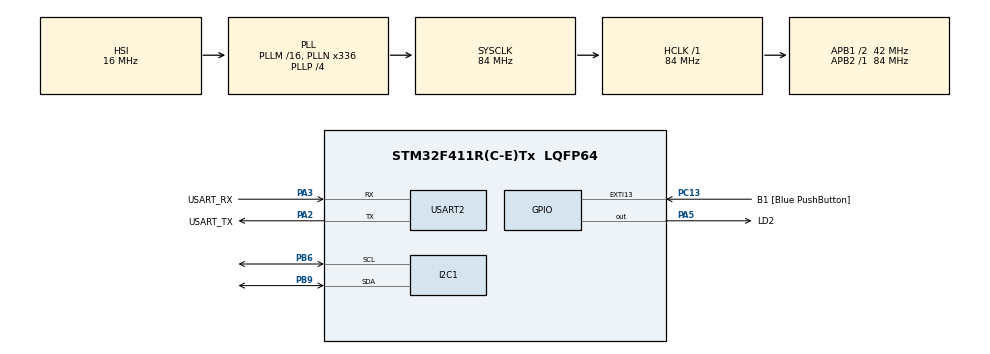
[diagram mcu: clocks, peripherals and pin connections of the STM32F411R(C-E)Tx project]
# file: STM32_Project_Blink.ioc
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ADC1.Channel-1\#ChannelRegularConversion=ADC_CHANNEL_TEMPSENSOR
ADC1.NbrOfConversion=1
ADC1.NbrOfConversionFlag=1
ADC1.Rank-1\#ChannelRegularConversion=1
ADC1.SamplingTime-1\#ChannelRegularConversion=ADC_SAMPLETIME_480CYCLES
ADC1.master=1
Dma.ADC1.1.Direction=DMA_PERIPH_TO_MEMORY
Dma.ADC1.1.FIFOMode=DMA_FIFOMODE_DISABLE
Dma.ADC1.1.Instance=DMA2_Stream0
Dma.ADC1.1.MemDataAlignment=DMA_MDATAALIGN_WORD
Dma.ADC1.1.MemInc=DMA_MINC_ENABLE
Dma.ADC1.1.Mode=DMA_CIRCULAR
Dma.ADC1.1.PeriphDataAlignment=DMA_PDATAALIGN_WORD
Dma.ADC1.1.PeriphInc=DMA_PINC_DISABLE
Dma.ADC1.1.Priority=DMA_PRIORITY_LOW
Dma.Request0=USART2_TX
Dma.Request1=ADC1
Dma.USART2_TX.0.Direction=DMA_MEMORY_TO_PERIPH
Dma.USART2_TX.0.FIFOMode=DMA_FIFOMODE_DISABLE
Dma.USART2_TX.0.Instance=DMA1_Stream6
Dma.USART2_TX.0.MemDataAlignment=DMA_MDATAALIGN_BYTE
Dma.USART2_TX.0.MemInc=DMA_MINC_ENABLE
Dma.USART2_TX.0.Mode=DMA_NORMAL
Dma.USART2_TX.0.PeriphDataAlignment=DMA_PDATAALIGN_BYTE
Dma.USART2_TX.0.PeriphInc=DMA_PINC_DISABLE
Dma.USART2_TX.0.Priority=DMA_PRIORITY_LOW
FREERTOS.BinarySemaphores01=myBinarySem01,Dynamic,NULL,Available
FREERTOS.Queues01=myQueue01,16,uint8_t,0,Dynamic,NULL,NULL
FREERTOS.Tasks01=defaultTask,24,128,StartDefaultTask,Default,NULL,Dynamic,NULL,NULL;myTask02,8,512,StartUartTask,Default,NULL,Dynamic,NULL,NULL
IWDG.Prescaler=IWDG_PRESCALER_32
IWDG.Reload=3000
Mcu.Family=STM32F4
Mcu.Name=STM32F411R(C-E)Tx
Mcu.Package=LQFP64
NVIC.DMA1_Stream6_IRQn=true\:5\:0\:false\:false\:true\:true\:false\:true\:true
NVIC.DMA2_Stream0_IRQn=true\:5\:0\:false\:false\:true\:true\:false\:true\:true
NVIC.EXTI15_10_IRQn=true\:5\:0\:false\:false\:true\:true\:true\:true\:true
NVIC.PriorityGroup=NVIC_PRIORITYGROUP_4
NVIC.USART2_IRQn=true\:5\:0\:false\:false\:true\:true\:true\:true\:true
PA13.GPIO_Label=TMS
PA13.Mode=Serial_Wire
PA13.Signal=SYS_JTMS-SWDIO
PA14.GPIO_Label=TCK
PA14.Mode=Serial_Wire
PA14.Signal=SYS_JTCK-SWCLK
PA2.GPIO_Label=USART_TX
PA2.Mode=Asynchronous
PA2.Signal=USART2_TX
PA3.GPIO_Label=USART_RX
PA3.Mode=Asynchronous
PA3.Signal=USART2_RX
PA5.GPIO_Label=LD2
PA5.Signal=GPIO_Output
PB3.GPIO_Label=SWO
PB3.Signal=SYS_JTDO-SWO
PB6.GPIO_Pu=GPIO_PULLUP
PB6.Mode=I2C
PB6.Signal=I2C1_SCL
PB9.GPIO_Pu=GPIO_PULLUP
PB9.Mode=I2C
PB9.Signal=I2C1_SDA
PC13-ANTI_TAMP.GPIO_Label=B1 [Blue PushButton]
PC13-ANTI_TAMP.GPIO_ModeDefaultEXTI=GPIO_MODE_IT_FALLING
PC13-ANTI_TAMP.Signal=GPXTI13
PC14-OSC32_IN.Mode=LSE-External-Oscillator
PC14-OSC32_IN.Signal=RCC_OSC32_IN
PC15-OSC32_OUT.Mode=LSE-External-Oscillator
PC15-OSC32_OUT.Signal=RCC_OSC32_OUT
PH0\ -\ OSC_IN.Mode=HSE-External-Clock-Source
PH0\ -\ OSC_IN.Signal=RCC_OSC_IN
PH1\ -\ OSC_OUT.Mode=HSE-External-Clock-Source
PH1\ -\ OSC_OUT.Signal=RCC_OSC_OUT
ProjectManager.HeapSize=0x200
ProjectManager.StackSize=0x400
ProjectManager.TargetToolchain=STM32CubeIDE
RCC.48MHZClocksFreq_Value=84000000
RCC.AHBFreq_Value=84000000
RCC.APB1CLKDivider=RCC_HCLK_DIV2
RCC.APB1Freq_Value=42000000
RCC.APB1TimFreq_Value=84000000
RCC.APB2Freq_Value=84000000
RCC.APB2TimFreq_Value=84000000
RCC.CortexFreq_Value=84000000
RCC.FLatency-AdvancedSettings=FLASH_LATENCY_2
RCC.HCLKFreq_Value=84000000
RCC.HSE_VALUE=8000000
RCC.HSI_VALUE=16000000
RCC.PLLN=336
RCC.PLLP=RCC_PLLP_DIV4
RCC.SYSCLKFreq_VALUE=84000000
RCC.SYSCLKSource=RCC_SYSCLKSOURCE_PLLCLK
RCC.VCOOutputFreq_Value=336000000
RTC.Date=29
RTC.Format=RTC_FORMAT_BIN
RTC.Hours=18
RTC.WeekDay=RTC_WEEKDAY_THURSDAY
RTC.Year=26
TIM2.Period=1000-1
TIM2.Prescaler=84-1
USART2.VirtualMode=VM_ASYNC
VP_ADC1_TempSens_Input.Mode=IN-TempSens
VP_FREERTOS_VS_CMSIS_V2.Mode=CMSIS_V2
VP_IWDG_VS_IWDG.Mode=IWDG_Activate
VP_RTC_VS_RTC_Activate.Mode=RTC_Enabled
VP_RTC_VS_RTC_Calendar.Mode=RTC_Calendar
VP_TIM2_VS_ClockSourceINT.Mode=Internal
board=NUCLEO-F411RE

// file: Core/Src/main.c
/* USER CODE BEGIN Header */
/**
  ******************************************************************************
  * @file           : main.c
  * @brief          : Main program body
  ******************************************************************************
  * @attention
  *
  * Copyright (c) 2026 STMicroelectronics.
  * All rights reserved.
  *
  * This software is licensed under terms that can be found in the LICENSE file
  * in the root directory of this software component.
  * If no LICENSE file comes with this software, it is provided AS-IS.
  *
  ******************************************************************************
  */
/* USER CODE END Header */
#include "main.h"
#include "cmsis_os.h"

/* USER CODE BEGIN Includes */
#include "queue.h"
#include "FreeRTOS.h"
#include "my_flash.h"
#include "my_sensor.h"
#include "my_shell.h"
#include "my_rtc.h"
#include "bsp_sensor.h"
#include "my_logger.h"

extern const SensorDriver_t RealSensorDriver;
extern const SensorDriver_t MockSensorDriver;
const SensorDriver_t *pSensor = &RealSensorDriver;

/* USER CODE END Includes */

ADC_HandleTypeDef hadc1;
DMA_HandleTypeDef hdma_adc1;

I2C_HandleTypeDef hi2c1;

IWDG_HandleTypeDef hiwdg;

RTC_HandleTypeDef hrtc;

TIM_HandleTypeDef htim2;

UART_HandleTypeDef huart2;
DMA_HandleTypeDef hdma_usart2_tx;

/* Definitions for defaultTask */
osThreadId_t defaultTaskHandle;
const osThreadAttr_t defaultTask_attributes = {
  .name = "defaultTask",
  .stack_size = 128 * 4,
  .priority = (osPriority_t) osPriorityNormal,
};
/* Definitions for myTask02 */
osThreadId_t myTask02Handle;
const osThreadAttr_t myTask02_attributes = {
  .name = "myTask02",
  .stack_size = 512 * 4,
  .priority = (osPriority_t) osPriorityLow,
};
/* Definitions for myQueue01 */
osMessageQueueId_t myQueue01Handle;
const osMessageQueueAttr_t myQueue01_attributes = {
  .name = "myQueue01"
};
/* Definitions for myBinarySem01 */
osSemaphoreId_t myBinarySem01Handle;
const osSemaphoreAttr_t myBinarySem01_attributes = {
  .name = "myBinarySem01"
};

void SystemClock_Config(void);
static void MX_GPIO_Init(void);
static void MX_DMA_Init(void);
static void MX_USART2_UART_Init(void);
static void MX_ADC1_Init(void);
static void MX_TIM2_Init(void);
static void MX_IWDG_Init(void);
static void MX_RTC_Init(void);
static void MX_I2C1_Init(void);
void StartDefaultTask(void *argument);
void StartUartTask(void *argument);

int main(void)
{

  /* MCU Configuration--------------------------------------------------------*/

  /* Reset of all peripherals, Initializes the Flash interface and the Systick. */
  HAL_Init();

  /* Configure the system clock */
  SystemClock_Config();

  /* Initialize all configured peripherals */
  MX_GPIO_Init();
  MX_DMA_Init();
  MX_USART2_UART_Init();
  MX_ADC1_Init();
  MX_TIM2_Init();
  //MX_IWDG_Init();
  MX_RTC_Init();
  MX_I2C1_Init();
  /* USER CODE BEGIN 2 */
  //Watch Dog and the reason of restarting
  char msg[60];
  if(__HAL_RCC_GET_FLAG(RCC_FLAG_IWDGRST)){
	  snprintf(msg, sizeof(msg), "System Resetted by Watchdog! (IWDG)\r\n");
	  __HAL_RCC_CLEAR_RESET_FLAGS();
  }
  else{
	  snprintf(msg, sizeof(msg), "System Normal Power-on.\r\n");
  }
  HAL_UART_Transmit(&huart2, (uint8_t*)msg, strlen(msg), 100);

  uint8_t rx_data = 0;
  HAL_UART_Receive_IT(&huart2, rx_data, 1);
  Shell_Init(&huart2);
  Flash_Init_Cursor();
  /* USER CODE END 2 */

  /* Init scheduler */
  osKernelInitialize();

  /* Create the semaphores(s) */
  /* creation of myBinarySem01 */
  myBinarySem01Handle = osSemaphoreNew(1, 1, &myBinarySem01_attributes);

  /* Create the queue(s) */
  /* creation of myQueue01 */
  myQueue01Handle = osMessageQueueNew (16, sizeof(uint8_t), &myQueue01_attributes);

  /* Create the thread(s) */
  /* creation of defaultTask */
  defaultTaskHandle = osThreadNew(StartDefaultTask, NULL, &defaultTask_attributes);

  /* creation of myTask02 */
  myTask02Handle = osThreadNew(StartUartTask, NULL, &myTask02_attributes);

  /* Start scheduler */
  osKernelStart();

  /* We should never get here as control is now taken by the scheduler */

  /* Infinite loop */
  while (1)
  {

    /* USER CODE BEGIN 3 */
	  HAL_Delay(500);
  }
  /* USER CODE END 3 */
}

void SystemClock_Config(void)
{
  RCC_OscInitTypeDef RCC_OscInitStruct = {0};
  RCC_ClkInitTypeDef RCC_ClkInitStruct = {0};

  /** Configure the main internal regulator output voltage
  */
  __HAL_RCC_PWR_CLK_ENABLE();
  __HAL_PWR_VOLTAGESCALING_CONFIG(PWR_REGULATOR_VOLTAGE_SCALE1);

  /** Initializes the RCC Oscillators according to the specified parameters
  * in the RCC_OscInitTypeDef structure.
  */
  RCC_OscInitStruct.OscillatorType = RCC_OSCILLATORTYPE_HSI|RCC_OSCILLATORTYPE_LSI;
  RCC_OscInitStruct.HSIState = RCC_HSI_ON;
  RCC_OscInitStruct.HSICalibrationValue = RCC_HSICALIBRATION_DEFAULT;
  RCC_OscInitStruct.LSIState = RCC_LSI_ON;
  RCC_OscInitStruct.PLL.PLLState = RCC_PLL_ON;
  RCC_OscInitStruct.PLL.PLLSource = RCC_PLLSOURCE_HSI;
  RCC_OscInitStruct.PLL.PLLM = 16;
  RCC_OscInitStruct.PLL.PLLN = 336;
  RCC_OscInitStruct.PLL.PLLP = RCC_PLLP_DIV4;
  RCC_OscInitStruct.PLL.PLLQ = 4;
  if (HAL_RCC_OscConfig(&RCC_OscInitStruct) != HAL_OK)
  {
    Error_Handler();
  }

  /** Initializes the CPU, AHB and APB buses clocks
  */
  RCC_ClkInitStruct.ClockType = RCC_CLOCKTYPE_HCLK|RCC_CLOCKTYPE_SYSCLK
                              |RCC_CLOCKTYPE_PCLK1|RCC_CLOCKTYPE_PCLK2;
  RCC_ClkInitStruct.SYSCLKSource = RCC_SYSCLKSOURCE_PLLCLK;
  RCC_ClkInitStruct.AHBCLKDivider = RCC_SYSCLK_DIV1;
  RCC_ClkInitStruct.APB1CLKDivider = RCC_HCLK_DIV2;
  RCC_ClkInitStruct.APB2CLKDivider = RCC_HCLK_DIV1;

  if (HAL_RCC_ClockConfig(&RCC_ClkInitStruct, FLASH_LATENCY_2) != HAL_OK)
  {
    Error_Handler();
  }
}

static void MX_ADC1_Init(void)
{

  ADC_ChannelConfTypeDef sConfig = {0};

  /** Configure the global features of the ADC (Clock, Resolution, Data Alignment and number of conversion)
  */
  hadc1.Instance = ADC1;
  hadc1.Init.ClockPrescaler = ADC_CLOCK_SYNC_PCLK_DIV4;
  hadc1.Init.Resolution = ADC_RESOLUTION_12B;
  hadc1.Init.ScanConvMode = DISABLE;
  hadc1.Init.ContinuousConvMode = DISABLE;
  hadc1.Init.DiscontinuousConvMode = DISABLE;
  hadc1.Init.ExternalTrigConvEdge = ADC_EXTERNALTRIGCONVEDGE_NONE;
  hadc1.Init.ExternalTrigConv = ADC_SOFTWARE_START;
  hadc1.Init.DataAlign = ADC_DATAALIGN_RIGHT;
  hadc1.Init.NbrOfConversion = 1;
  hadc1.Init.DMAContinuousRequests = DISABLE;
  hadc1.Init.EOCSelection = ADC_EOC_SINGLE_CONV;
  if (HAL_ADC_Init(&hadc1) != HAL_OK)
  {
    Error_Handler();
  }

  /** Configure for the selected ADC regular channel its corresponding rank in the sequencer and its sample time.
  */
  sConfig.Channel = ADC_CHANNEL_TEMPSENSOR;
  sConfig.Rank = 1;
  sConfig.SamplingTime = ADC_SAMPLETIME_480CYCLES;
  if (HAL_ADC_ConfigChannel(&hadc1, &sConfig) != HAL_OK)
  {
    Error_Handler();
  }

}

static void MX_I2C1_Init(void)
{

  hi2c1.Instance = I2C1;
  hi2c1.Init.ClockSpeed = 100000;
  hi2c1.Init.DutyCycle = I2C_DUTYCYCLE_2;
  hi2c1.Init.OwnAddress1 = 0;
  hi2c1.Init.AddressingMode = I2C_ADDRESSINGMODE_7BIT;
  hi2c1.Init.DualAddressMode = I2C_DUALADDRESS_DISABLE;
  hi2c1.Init.OwnAddress2 = 0;
  hi2c1.Init.GeneralCallMode = I2C_GENERALCALL_DISABLE;
  hi2c1.Init.NoStretchMode = I2C_NOSTRETCH_DISABLE;
  if (HAL_I2C_Init(&hi2c1) != HAL_OK)
  {
    Error_Handler();
  }

}

static void MX_IWDG_Init(void)
{

  hiwdg.Instance = IWDG;
  hiwdg.Init.Prescaler = IWDG_PRESCALER_32;
  hiwdg.Init.Reload = 3000;
  if (HAL_IWDG_Init(&hiwdg) != HAL_OK)
  {
    Error_Handler();
  }

}

static void MX_RTC_Init(void)
{

  RTC_TimeTypeDef sTime = {0};
  RTC_DateTypeDef sDate = {0};

  /** Initialize RTC Only
  */
  hrtc.Instance = RTC;
  hrtc.Init.HourFormat = RTC_HOURFORMAT_24;
  hrtc.Init.AsynchPrediv = 127;
  hrtc.Init.SynchPrediv = 255;
  hrtc.Init.OutPut = RTC_OUTPUT_DISABLE;
  hrtc.Init.OutPutPolarity = RTC_OUTPUT_POLARITY_HIGH;
  hrtc.Init.OutPutType = RTC_OUTPUT_TYPE_OPENDRAIN;
  if (HAL_RTC_Init(&hrtc) != HAL_OK)
  {
    Error_Handler();
  }

  /** Initialize RTC and set the Time and Date
  */
  sTime.Hours = 18;
  sTime.Minutes = 0;
  sTime.Seconds = 0;
  sTime.DayLightSaving = RTC_DAYLIGHTSAVING_NONE;
  sTime.StoreOperation = RTC_STOREOPERATION_RESET;
  if (HAL_RTC_SetTime(&hrtc, &sTime, RTC_FORMAT_BIN) != HAL_OK)
  {
    Error_Handler();
  }
  sDate.WeekDay = RTC_WEEKDAY_THURSDAY;
  sDate.Month = RTC_MONTH_JANUARY;
  sDate.Date = 29;
  sDate.Year = 26;

  if (HAL_RTC_SetDate(&hrtc, &sDate, RTC_FORMAT_BIN) != HAL_OK)
  {
    Error_Handler();
  }

}

static void MX_TIM2_Init(void)
{

  TIM_ClockConfigTypeDef sClockSourceConfig = {0};
  TIM_MasterConfigTypeDef sMasterConfig = {0};

  htim2.Instance = TIM2;
  htim2.Init.Prescaler = 84-1;
  htim2.Init.CounterMode = TIM_COUNTERMODE_UP;
  htim2.Init.Period = 1000-1;
  htim2.Init.ClockDivision = TIM_CLOCKDIVISION_DIV1;
  htim2.Init.AutoReloadPreload = TIM_AUTORELOAD_PRELOAD_DISABLE;
  if (HAL_TIM_Base_Init(&htim2) != HAL_OK)
  {
    Error_Handler();
  }
  sClockSourceConfig.ClockSource = TIM_CLOCKSOURCE_INTERNAL;
  if (HAL_TIM_ConfigClockSource(&htim2, &sClockSourceConfig) != HAL_OK)
  {
    Error_Handler();
  }
  sMasterConfig.MasterOutputTrigger = TIM_TRGO_RESET;
  sMasterConfig.MasterSlaveMode = TIM_MASTERSLAVEMODE_DISABLE;
  if (HAL_TIMEx_MasterConfigSynchronization(&htim2, &sMasterConfig) != HAL_OK)
  {
    Error_Handler();
  }

}

static void MX_USART2_UART_Init(void)
{

  huart2.Instance = USART2;
  huart2.Init.BaudRate = 115200;
  huart2.Init.WordLength = UART_WORDLENGTH_8B;
  huart2.Init.StopBits = UART_STOPBITS_1;
  huart2.Init.Parity = UART_PARITY_NONE;
  huart2.Init.Mode = UART_MODE_TX_RX;
  huart2.Init.HwFlowCtl = UART_HWCONTROL_NONE;
  huart2.Init.OverSampling = UART_OVERSAMPLING_16;
  if (HAL_UART_Init(&huart2) != HAL_OK)
  {
    Error_Handler();
  }

}

static void MX_DMA_Init(void)
{

  /* DMA controller clock enable */
  __HAL_RCC_DMA1_CLK_ENABLE();
  __HAL_RCC_DMA2_CLK_ENABLE();

  /* DMA interrupt init */
  /* DMA1_Stream6_IRQn interrupt configuration */
  HAL_NVIC_SetPriority(DMA1_Stream6_IRQn, 5, 0);
  HAL_NVIC_EnableIRQ(DMA1_Stream6_IRQn);
  /* DMA2_Stream0_IRQn interrupt configuration */
  HAL_NVIC_SetPriority(DMA2_Stream0_IRQn, 5, 0);
  HAL_NVIC_EnableIRQ(DMA2_Stream0_IRQn);

}

static void MX_GPIO_Init(void)
{
  GPIO_InitTypeDef GPIO_InitStruct = {0};

  /* GPIO Ports Clock Enable */
  __HAL_RCC_GPIOC_CLK_ENABLE();
  __HAL_RCC_GPIOH_CLK_ENABLE();
  __HAL_RCC_GPIOA_CLK_ENABLE();
  __HAL_RCC_GPIOB_CLK_ENABLE();

  /*Configure GPIO pin Output Level */
  HAL_GPIO_WritePin(LD2_GPIO_Port, LD2_Pin, GPIO_PIN_RESET);

  /*Configure GPIO pin : B1_Pin */
  GPIO_InitStruct.Pin = B1_Pin;
  GPIO_InitStruct.Mode = GPIO_MODE_IT_FALLING;
  GPIO_InitStruct.Pull = GPIO_NOPULL;
  HAL_GPIO_Init(B1_GPIO_Port, &GPIO_InitStruct);

  /*Configure GPIO pin : LD2_Pin */
  GPIO_InitStruct.Pin = LD2_Pin;
  GPIO_InitStruct.Mode = GPIO_MODE_OUTPUT_PP;
  GPIO_InitStruct.Pull = GPIO_NOPULL;
  GPIO_InitStruct.Speed = GPIO_SPEED_FREQ_LOW;
  HAL_GPIO_Init(LD2_GPIO_Port, &GPIO_InitStruct);

  /* EXTI interrupt init*/
  HAL_NVIC_SetPriority(EXTI15_10_IRQn, 5, 0);
  HAL_NVIC_EnableIRQ(EXTI15_10_IRQn);

}

/* USER CODE BEGIN 4 */

void HAL_GPIO_EXTI_Callback(uint16_t GPIO_Pin)
{
	if(GPIO_Pin == B1_Pin){
		osSemaphoreRelease(myBinarySem01Handle);
	}
}

void HAL_UART_ErrorCallback(UART_HandleTypeDef *huart)
{
    if (huart->Instance == USART2)
    {
        __HAL_UART_CLEAR_OREFLAG(huart);
        __HAL_UART_CLEAR_NEFLAG(huart);
        __HAL_UART_CLEAR_FEFLAG(huart);

        extern uint8_t rx_data;
        HAL_UART_Receive_IT(huart, &rx_data, 1);
    }
}

void I2C_Scanner(void)
{
	char msg[128];

    for (int i = 1; i < 128; i++)
    {
        if (HAL_I2C_IsDeviceReady(&hi2c1, (i << 1), 1, 10) == HAL_OK)
        {
            sprintf(msg, "Found: 0x%02X\r\n", i);
            HAL_UART_Transmit(&huart2, (uint8_t*)msg, strlen(msg), 100);
        }
    }

    sprintf(msg, "--- Scan Done ---\r\n");
    HAL_UART_Transmit(&huart2, (uint8_t*)msg, strlen(msg), 100);
}

/* USER CODE END 4 */

void StartDefaultTask(void *argument)
{
  /* USER CODE BEGIN 5 */
  static uint8_t error_counter = 0;
  float temp_val = 0.0f;
  uint8_t is_mock = 0;
  for(;;)
  {
	if(pSensor!=NULL && pSensor->ReadTemp!=NULL){
		int8_t ret = pSensor->ReadTemp(&temp_val);
		if(ret ==0){
			error_counter = 0;
			if(pSensor==&MockSensorDriver){
				is_mock = 1;
			}

			else is_mock = 0;
			Add_Log((int8_t)temp_val, is_mock);
		}
		else{
			error_counter++;
			if(error_counter>=3){
				pSensor = &MockSensorDriver;
                char msg[] = "\r\n Sensor failed Switched to Mock Driver.\r\n";
                HAL_UART_Transmit(&huart2, (uint8_t*)msg, strlen(msg), 100);
				error_counter = 0;
			}
		}
	}
	osDelay(2500);
  }

  /* USER CODE END 5 */
}

void StartUartTask(void *argument)
{
  /* USER CODE BEGIN StartUartTask */

  for(;;){
	  Shell_Process();

	  //HAL_IWDG_Refresh(&hiwdg);

	  osDelay(100);
  }
  /* USER CODE END StartUartTask */
}

void Error_Handler(void)
{
  __disable_irq();
  while (1)
  {
  }
}
